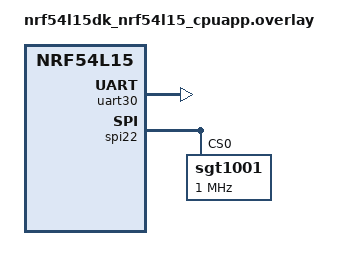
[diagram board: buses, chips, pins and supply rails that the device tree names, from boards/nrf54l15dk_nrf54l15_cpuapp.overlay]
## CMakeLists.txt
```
# =============================================================================
# poc_sdk_device_nrf — SandGrain device SDK on the nRF54L15-DK
#
# Runs the real device-side mutual-auth flow (SGR_SDK_Authenticate_Via_GW) on
# the board. The device<->gateway transport (normally a TCP socket in the PC
# build) is replaced by a Bluetooth LE Nordic UART Service link; a laptop
# relay bridges BLE <-> the gateway's TCP:8080. Gateway and cloud are unchanged.
#
# Builds in DEVICE_MODE, reusing the portable SDK sources from
# ../poc_sdk_device/sdk_fw and providing Zephyr port_* implementations.
# =============================================================================
cmake_minimum_required(VERSION 3.20.0)

find_package(Zephyr REQUIRED HINTS $ENV{ZEPHYR_BASE})
project(poc_sdk_device_nrf)

set(SDK    ${CMAKE_CURRENT_SOURCE_DIR}/../poc_sdk_device/sdk_fw)
# The PC device app, reused for the parts that are pure logic: the menu's
# fault-injection options flip bits in the same JSON frames on any transport.
set(DEVAPP ${CMAKE_CURRENT_SOURCE_DIR}/../poc_sdk_device/app)

target_sources(app PRIVATE
    # --- application ---
    src/main.c

    # --- Zephyr port layer (the platform-specific seam) ---
    src/ports/port_spi.c        # SGT1001 over Zephyr SPI
    src/ports/port_comm.c       # device<->gateway over BLE NUS (replaces TCP)
    src/ports/port_delay.c
    src/ports/port_random.c

    # --- shared with the PC device app ---
    ${DEVAPP}/fault_injection/fi_device.c   # menu options 2 and 3
    ${DEVAPP}/port/comm_adapter.c           # port_comm.c -> SDK comm interface

    # --- portable SDK firmware (reused as-is, DEVICE_MODE) ---
    ${SDK}/src/application/api.c
    ${SDK}/src/middleware/sgr_mw.c
    ${SDK}/src/services/server/server.c
    ${SDK}/src/services/protocol/protocol.c
    ${SDK}/src/services/crypto/crypto.c
    ${SDK}/src/utils/json/json_tx_build.c
    ${SDK}/src/utils/encoding/encoding_hex.c
    ${SDK}/src/utils/crc/crc.c
    ${SDK}/src/utils/bit_flip/bit_flip.c
    ${SDK}/src/utils/sha256/sha256.c
    ${SDK}/src/utils/random/random.c
)

target_include_directories(app PRIVATE
    src/ports                       # mosquitto.h stub + app_ble.h (searched first)
    ${DEVAPP}/fault_injection
    ${DEVAPP}/port                  # comm_adapter.h (the only header there)
    ${SDK}/include
    ${SDK}/src/application
    ${SDK}/src/middleware
    ${SDK}/src/services/server
    ${SDK}/src/services/crypto
    ${SDK}/src/services/protocol
    ${SDK}/src/services/devices
    ${SDK}/src/services/database
    ${SDK}/src/utils/crc
    ${SDK}/src/utils/encoding
    ${SDK}/src/utils/json
    ${SDK}/src/utils/bit_flip
    ${SDK}/src/utils/sha256
    ${SDK}/src/utils/random
    ${SDK}/port
)

# DEVICE_MODE=0. MAX_DEVICES=1 (one channel). CRC checks off (PoC parity).
target_compile_definitions(app PRIVATE
    SDK_MODE=0
    MAX_DEVICES=1
    CRC_ENABLE=0
)
```

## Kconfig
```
# Application-specific Kconfig for poc_sdk_device_nrf.
# (A Kconfig in the app root becomes the top-level source, so it must end by
#  sourcing Kconfig.zephyr to pull in the normal Zephyr configuration.)

config SANDGRAIN_INTERACTIVE_MENU
	bool "Interactive serial menu instead of the auto-auth loop"
	default y
	help
	  When y, the device presents a menu over the UART console (COM port) to
	  trigger BIST / mutual authentication on demand, like the PC test app.
	  Requires an interactive serial terminal that can send keystrokes
	  (PuTTY, screen, miniterm, VS Code Serial Monitor). The console input
	  subsystem it uses (CONSOLE_SUBSYS/GETCHAR) is enabled in prj.conf.

	  When n, the device runs the original behaviour: wait for the
	  relay/gateway link, then authenticate automatically every few seconds.

source "Kconfig.zephyr"
```

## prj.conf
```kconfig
# --- Console (BIST / TID / FSM logs print on the UART/COM port) ---
CONFIG_SERIAL=y
CONFIG_CONSOLE=y
CONFIG_UART_CONSOLE=y
CONFIG_GPIO=y

# The SDK sources use printf()/snprintf() heavily — route to the console.
CONFIG_PRINTK=y
CONFIG_PICOLIBC=y

# --- Interactive serial menu (y: menu on the COM port; n: auto-auth loop) ---
CONFIG_SANDGRAIN_INTERACTIVE_MENU=y
# Console input subsystem used by the menu (console_getchar). Harmless if the
# menu is disabled. CONSOLE_GETCHAR is a choice member, hence set here not via Kconfig.
CONFIG_CONSOLE_SUBSYS=y
CONFIG_CONSOLE_GETCHAR=y

# --- SPI to the SGT1001 crypto chip ---
CONFIG_SPI=y

# --- Bluetooth LE peripheral + Nordic UART Service (the device<->gateway link) ---
CONFIG_BT=y
CONFIG_BT_PERIPHERAL=y
CONFIG_BT_DEVICE_NAME="SandGrain-Dev"
CONFIG_BT_MAX_CONN=1
CONFIG_BT_NUS=y

# The SDK JSON frames (auth request / CW / RW / result) are up to ~130 bytes —
# raise the ATT MTU and ACL buffers so each frame fits in one NUS packet.
CONFIG_BT_L2CAP_TX_MTU=247
CONFIG_BT_BUF_ACL_TX_SIZE=251
CONFIG_BT_BUF_ACL_RX_SIZE=251

# The auth FSM keeps 512-byte TX/RX frame buffers on the main stack.
CONFIG_MAIN_STACK_SIZE=4096
```

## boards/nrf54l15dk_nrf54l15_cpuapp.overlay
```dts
#include <zephyr/dt-bindings/pinctrl/nrf-pinctrl.h>

/ {
	chosen {
		zephyr,console = &uart30;
		zephyr,shell-uart = &uart30;
		zephyr,uart-mcumgr = &uart30;
		zephyr,bt-mon-uart = &uart30;
		zephyr,bt-c2h-uart = &uart30;
	};
};

&uart20 {
	status = "disabled";
};

&uart30 {
	status = "okay";
};

&spi22 {
	status = "okay";

	sgt1001: sgt1001@0 {
		compatible = "zephyr,sgt1001";
		reg = <0>;
		spi-max-frequency = <1000000>;
		spi-cs-setup-delay-ns = <1000>;
		spi-cs-hold-delay-ns = <1000>;
	};
};
```

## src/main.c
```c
/* =============================================================================
 * main.c - SandGrain device on the nRF54L15-DK
 *
 * Runs the real device-side SDK flow on the board, talking to the gateway over
 * BLE (NUS). Two front-ends, chosen by CONFIG_SANDGRAIN_INTERACTIVE_MENU:
 *
 *   MENU (default): an interactive menu on the UART console (COM port) to run
 *     BIST / mutual authentication on demand - like the PC test app. Needs an
 *     interactive serial terminal that can send keystrokes.
 *
 *   AUTO (config n): wait for the relay/gateway link, then authenticate
 *     automatically every few seconds.
 *
 * Either way auth runs over the same BLE transport (relay -> gateway -> cloud).
 *
 * On top of both, TrustBridge can trigger an authentication itself: the gateway
 * subscribes to this board's cmd/run_auth topic (it has no MQTT client of its
 * own) and relays the trigger over BLE, where it is handled exactly like the
 * menu's "1" - see the trigger section below.
 * ============================================================================= */
#include <zephyr/kernel.h>
#include <zephyr/sys/printk.h>

#include <string.h>

#include "sdk_sgr_user_api.h"
#include "sgr_mw.h"          /* g_sgr_last_claim_token_id */
#include "crypto.h"          /* g_sgr_chip_variant, SGR_CHIP_SGB */
#include "sha256.h"          /* FW verification hashes the test image */
#include "fi_device.h"       /* fault-injection flags for menu options 2 / 3 */
#include "comm_adapter.h"    /* wraps port_comm.c as the SDK's comm interface */
#include "app_ble.h"

#if defined(CONFIG_SANDGRAIN_INTERACTIVE_MENU)
#include <zephyr/console/console.h>
#else
#define REAUTH_PERIOD_S  10
#endif

/* Simulated firmware image for the FW-verification options, byte-identical to
 * the PC device app's so both report the same hash. In a real system this would
 * be read from the secondary flash partition. */
static const uint8_t test_fw_data[] = {
	0x7F, 0x45, 0x4C, 0x46, 0x01, 0x01, 0x01, 0x00,  /* ELF-like header */
	0xDE, 0xAD, 0xBE, 0xEF, 0xCA, 0xFE, 0xBA, 0xBE,
	0x11, 0x22, 0x33, 0x44, 0x55, 0x66, 0x77, 0x88,
	0x99, 0xAA, 0xBB, 0xCC, 0xDD, 0xEE, 0xFF, 0x00,
	0x01, 0x23, 0x45, 0x67, 0x89, 0xAB, 0xCD, 0xEF,
	0xFE, 0xDC, 0xBA, 0x98, 0x76, 0x54, 0x32, 0x10,
	0xA5, 0x5A, 0xA5, 0x5A, 0xA5, 0x5A, 0xA5, 0x5A,
	0x00, 0x11, 0x22, 0x33, 0x44, 0x55, 0x66, 0x77
};
static const uint32_t test_fw_size = sizeof(test_fw_data);

/* Progress events from the auth FSM, same [EVT] trail the PC/Pi app prints.
 * Invoked synchronously from inside the flow - observe only, never call back
 * into SGR_SDK_* from here. */
static const char *auth_event_name(sgr_sdk_event_t e)
{
	switch (e) {
	case SGR_SDK_EVT_AUTH_STARTED:      return "AUTH_STARTED";
	case SGR_SDK_EVT_AUTH_REQUEST_SENT: return "AUTH_REQUEST_SENT";
	case SGR_SDK_EVT_CW_RECEIVED:       return "CW_RECEIVED";
	case SGR_SDK_EVT_RW_COMPUTED:       return "RW_COMPUTED";
	case SGR_SDK_EVT_RW_SENT:           return "RW_SENT";
	case SGR_SDK_EVT_RESULT_RECEIVED:   return "RESULT_RECEIVED";
	case SGR_SDK_EVT_AUTH_COMPLETE:     return "AUTH_COMPLETE";
	case SGR_SDK_EVT_AUTH_FAILED:       return "AUTH_FAILED";
	case SGR_SDK_EVT_RETRY:             return "RETRY";
	default:                            return "UNKNOWN";
	}
}

static void on_auth_event(sgr_sdk_event_t e, void *user)
{
	ARG_UNUSED(user);
	printk("        [EVT] %s\n", auth_event_name(e));
}

static void print_hex(const char *label, const uint8_t *buf, int len)
{
	printk("%s", label);
	for (int i = 0; i < len; i++) {
		printk("%02x", buf[i]);
	}
	printk("\n");
}

/* Menu option 0. Prints the same fields the PC app's BIST does, and hands the
 * TID to the BLE layer: it announces "HELLO <tid>" to the gateway on every
 * link-up, which is what puts this board online in TrustBridge. */
static void run_bist(void)
{
	sgr_sdk_bist_result_t bist = {0};
	sgr_sdk_status_t st = SGR_SDK_BIST(&bist);

	if (st != SGR_SDK_OK && st != SGR_SDK_AUTH_FAILED) {
		printk("[BIST] error (status=%d) - crypto chip transport?\n", st);
		return;
	}

	print_hex("[BIST] PCC    : ", bist.pcc, 16);
	print_hex("[BIST] ID     : ", bist.id,  16);
	print_hex("[BIST] RW     : ", bist.rw,  16);
	print_hex("[BIST] EK     : ", bist.ek,  16);
	printk("[BIST] Status : 0x%02x  (0x50 == PASS)\n", bist.bist_byte);
	printk("  >> BIST %s\n", bist.passed ? "PASS" : "FAIL");

	char tid_hex[65];
	for (int i = 0; i < 16; i++) {
		snprintk(&tid_hex[i * 2], 3, "%02x", bist.pcc[i]);
	}
	for (int i = 0; i < 16; i++) {
		snprintk(&tid_hex[32 + i * 2], 3, "%02x", bist.id[i]);
	}
	printk("TID: %s\n", tid_hex);

	app_ble_set_tid(tid_hex);
}

static void print_auth_result(sgr_sdk_status_t st)
{
	switch (st) {
	case SGR_SDK_OK:
		printk("  >> Mutual Authentication OK (token + host auth)\n");
		break;
	case SGR_SDK_AUTH_FAILED:
		printk("  >> Authentication FAILED (token auth - cloud rejected device)\n");
		break;
	case SGR_SDK_MUTUAL_AUTH_FAILED:
		printk("  >> Mutual Authentication FAILED (host auth - HRW mismatch)\n");
		break;
	case SGR_SDK_CLAIM_TOKEN_READY:
		printk("  >> Token ready to be claimed (not yet bound to a tenant)\n");
		break;
	case SGR_SDK_COMM_ERROR:
		printk("  >> Communication error (relay/gateway link)\n");
		break;
	case SGR_SDK_TOKEN_ERROR:
		printk("  >> Crypto chip error\n");
		break;
	default:
		printk("  >> Error (status=%d)\n", st);
		break;
	}
}

/* First-time enrollment: an unclaimed chip authenticates fine but the cloud
 * answers CLAIM_TOKEN instead of AUTH_OK. TrustBridge then claims that token,
 * and a second pass a moment later yields AUTH_OK. These bound the delayed
 * re-auth the triggered path drives so a TrustBridge-started flow finishes
 * enrollment on its own instead of ending "Rejected". */
#define CLAIM_REAUTH_PASSES   4
#define CLAIM_REAUTH_DELAY_S  3

K_MUTEX_DEFINE(sdk_lock);

/* Modes 1-3 are the PC app's authentication options, and they mean the same
 * thing here: the flags below are read by the transport (port_comm.c), which
 * flips bits in the JSON frames on their way past. Mode 1 clears them all. */
static const char *fi_select_mode(int mode)
{
	fi_enable_cw      = 0;
	fi_enable_cw_echo = 0;
	fi_enable_rw      = 0;
	fi_enable_option3 = 0;
	fi_skip_phase2    = 0;

	switch (mode) {
	case 2:
		fi_enable_cw      = 1;
		fi_enable_cw_echo = 1;
		fi_enable_rw      = 1;
		fi_skip_phase2    = 1;
		return "Fault injection (CW 2 bits, CW echo 1 bit, RW 1 bit)";
	case 3:
		fi_enable_option3 = 1;
		fi_skip_phase2    = 1;
		return "Error Management stress (CW 3 bits, CW echo 2 bits)";
	default:
		return "Mutual Authentication (no fault injection)";
	}
}

/* One shared BLE session serves every auth path, and SGR_SDK_Authenticate_Via_GW
 * is not reentrant - the menu and the TrustBridge trigger must take turns.
 * Returns false if an authentication was already in flight (the caller reports
 * it; nothing is queued, TrustBridge simply triggers again).
 *
 * `claim_retry` drives the delayed re-auth passes above. The triggered path
 * wants them (nobody is watching the console to press "1" again); the menu path
 * stays a single deliberate pass, matching the PC device build. */
static bool run_auth_guarded(int mode, bool claim_retry)
{
	if (k_mutex_lock(&sdk_lock, K_NO_WAIT) != 0) {
		printk("  [!] The SDK is busy with another operation - request ignored\n");
		return false;
	}

	const char *name = fi_select_mode(mode);
	printk("\n[AUTH] Mode %d: %s\n", mode, name);
	printk("[AUTH] Authenticating via gateway...\n");
	sgr_sdk_status_t st = SGR_SDK_Authenticate_Via_GW();

	if (claim_retry) {
		for (int pass = 1;
		     st == SGR_SDK_CLAIM_TOKEN_READY && pass <= CLAIM_REAUTH_PASSES;
		     pass++) {
			printk("  Token ready to be claimed: %s\n", g_sgr_last_claim_token_id);
			printk("  Waiting %ds for claim to settle, re-authenticating (pass %d/%d)...\n",
			       CLAIM_REAUTH_DELAY_S, pass, CLAIM_REAUTH_PASSES);
			k_sleep(K_SECONDS(CLAIM_REAUTH_DELAY_S));
			st = SGR_SDK_Authenticate_Via_GW();
		}
	}

	/* Leave the flags clear so the next run is clean unless it asks otherwise. */
	fi_select_mode(1);

	print_auth_result(st);
	k_mutex_unlock(&sdk_lock);
	return true;
}

/* Menu options 4 and 5. Option 4 also saves RW_verify inside the SDK, which is
 * what option 6 (Installation) needs - run 4 before 6.
 *
 *   use_valid_rw = 1: pre-compute the correct RW (SHA-256 of the image, then
 *     the crypto chip) and hand it over - a legitimately signed image, expect
 *     FW_OK.
 *   use_valid_rw = 0: hand over an all-zero RW - a tampered image, expect
 *     FW_NOK. */
static void run_fw_verification(bool use_valid_rw)
{
	uint8_t fw_hash[32]      = {0};
	uint8_t fw_rw_valid[16]  = {0};
	uint8_t fw_rw_wrong[16]  = {0};   /* all zeros - intentionally wrong */

	if (k_mutex_lock(&sdk_lock, K_NO_WAIT) != 0) {
		printk("  [!] The SDK is busy with another operation - request ignored\n");
		return;
	}

	printk("\n[FW] Simulated FW size: %u bytes\n", (unsigned)test_fw_size);
	sha256_compute(test_fw_data, test_fw_size, fw_hash);
	print_hex("[FW] SHA-256    : ", fw_hash, 32);

	if (crypto_get_rw(fw_hash, sizeof(fw_hash),
			  fw_rw_valid, sizeof(fw_rw_valid),
			  NULL, 0,
			  SGR_CRYPTO_MODE_HOST_AUTH) != SGR_CRYPTO_OK) {
		printk("  >> crypto_get_rw failed - is the SGT1001 connected?\n");
		k_mutex_unlock(&sdk_lock);
		return;
	}
	print_hex("[FW] Expected RW: ", fw_rw_valid, 16);
	printk("[FW] Using %s RW\n",
	       use_valid_rw ? "CORRECT (valid image)" : "WRONG (tampered image)");

	sgr_sdk_status_t st = SGR_SDK_Verification_FW(test_fw_data, test_fw_size,
						      use_valid_rw ? fw_rw_valid : fw_rw_wrong);

	if (st == SGR_SDK_OK) {
		printk("  >> FW Verification OK - FW_OK sent to the gateway\n");
	} else if (st == SGR_SDK_AUTH_FAILED) {
		printk("  >> FW Verification NOK - FW_NOK sent to the gateway\n");
	} else if (st == SGR_SDK_COMM_ERROR) {
		printk("  >> FW Verification ERROR - gateway link failed (status=%d)\n", st);
	} else if (st == SGR_SDK_TOKEN_ERROR) {
		printk("  >> FW Verification ERROR - crypto chip failed (status=%d)\n", st);
	} else {
		printk("  >> FW Verification ERROR (status=%d)\n", st);
	}

	k_mutex_unlock(&sdk_lock);
}

/* Menu option 6. Requires option 4 to have run in this session: it is the
 * FW_OK path that saves RW_verify, from which CW_install is derived. */
static void run_installation(void)
{
	if (k_mutex_lock(&sdk_lock, K_NO_WAIT) != 0) {
		printk("  [!] The SDK is busy with another operation - request ignored\n");
		return;
	}

	printk("\n[INST] Requesting installation authorization...\n");
	sgr_sdk_status_t st = SGR_SDK_Installation();

	if (st == SGR_SDK_OK) {
		printk("  >> Installation AUTHORIZED\n");
	} else if (st == SGR_SDK_AUTH_FAILED) {
		printk("  >> Installation DENIED (did you run option 4 first?)\n");
	} else if (st == SGR_SDK_COMM_ERROR) {
		printk("  >> Installation ERROR - gateway link failed (status=%d)\n", st);
	} else if (st == SGR_SDK_TOKEN_ERROR) {
		printk("  >> Installation ERROR - crypto chip failed (status=%d)\n", st);
	} else {
		printk("  >> Installation ERROR (status=%d)\n", st);
	}

	k_mutex_unlock(&sdk_lock);
}

#if defined(CONFIG_SANDGRAIN_INTERACTIVE_MENU)
/* Same option numbering as the PC device app, so a demo script reads the same
 * on either device. Only "7 Exit" is missing - a board has nothing to exit to. */
static void print_menu(void)
{
	printk("\n=====================================================\n");
	printk("  Select test option:\n");
	printk("  --- BIST ---\n");
	printk("   0  BIST - Built-In Self-Test (crypto chip) + TID\n");
	printk("  --- Authentication ---\n");
	printk("   1  Mutual Authentication (no fault injection)\n");
	printk("   2  Fault injection (CW: 2 bits, CW echo: 1 bit, RW: 1 bit)\n");
	printk("   3  Fault injection - Error Management stress (CW: 3 bits, CW echo: 2 bits)\n");
	printk("  --- FW Verification ---\n");
	printk("   4  FW Verification - correct RW  (expect FW_OK, saves RW_verify)\n");
	printk("   5  FW Verification - wrong RW    (expect FW_NOK)\n");
	printk("  --- Installation ---\n");
	printk("   6  Installation    - request install auth (run option 4 first)\n");
	printk("=====================================================\n");
	printk("  Option: ");
}

/* Everything except BIST talks to the gateway. */
static bool link_required(void)
{
	if (app_ble_ready()) {
		return true;
	}
	printk("  [!] Relay/gateway link not up yet - connect the relay "
	       "(or the BLE gateway) first.\n");
	return false;
}

static void menu_loop(void)
{
	console_init();
	print_menu();

	while (1) {
		uint8_t c = console_getchar();

		/* ignore line endings from terminals that send CR/LF */
		if (c == '\r' || c == '\n') {
			continue;
		}
		printk("%c\n", c);

		switch (c) {
		case '0':
			run_bist();
			break;
		case '1':
		case '2':
		case '3':
			if (link_required()) {
				run_auth_guarded(c - '0', false);
			}
			break;
		case '4':
		case '5':
			if (link_required()) {
				run_fw_verification(c == '4');
			}
			break;
		case '6':
			if (link_required()) {
				run_installation();
			}
			break;
		default:
			printk("  [!] Invalid option\n");
			break;
		}
		print_menu();
	}
}
#endif /* CONFIG_SANDGRAIN_INTERACTIVE_MENU */

/* =============================================================================
 * TrustBridge-driven authentication (BE -> gateway -> board)
 *
 * A native (IP) device subscribes to sandgrain/v1/{tid}/cmd/run_auth itself and
 * authenticates when the backend publishes there. This board has no IP stack, so
 * the gateway does it on our behalf and relays the trigger over the BLE link
 * (it learned which TID we are from the HELLO we send on every link-up). What
 * arrives here is a "RUN_AUTH <mode>" line, consumed by port_comm.c.
 *
 * The trigger lands on the Bluetooth RX thread, which must stay responsive -
 * the authentication it kicks off needs that very thread to deliver the
 * gateway's replies, so running it inline would deadlock the flow. Hence a
 * dedicated worker: the callback only signals, the worker authenticates.
 *
 * The worker stack mirrors CONFIG_MAIN_STACK_SIZE - it runs the same auth FSM,
 * whose 512-byte TX/RX frame buffers dominate the frame.
 * ============================================================================= */
#define AUTH_WORKER_STACK  4096
#define AUTH_WORKER_PRIO   5

static K_SEM_DEFINE(trigger_sem, 0, 1);
static atomic_t     trigger_mode = ATOMIC_INIT(1);

/* Runs on the Bluetooth RX thread: signal only, never authenticate here.
 * The mode carries the same 1/2/3 meaning as the menu, so TrustBridge can ask
 * for a fault-injection run exactly as it can from a PC device. */
static void on_ble_trigger(int mode)
{
	if (mode < 1 || mode > 3) {
		mode = 1;
	}
	atomic_set(&trigger_mode, mode);
	k_sem_give(&trigger_sem);
}

static void auth_worker(void *a, void *b, void *c)
{
	ARG_UNUSED(a);
	ARG_UNUSED(b);
	ARG_UNUSED(c);

	while (1) {
		k_sem_take(&trigger_sem, K_FOREVER);

		if (!app_ble_ready()) {
			/* The link that carried the trigger dropped in between. */
			printk("[TRIGGER] gateway link is down - skipping\n");
			continue;
		}

		run_auth_guarded((int)atomic_get(&trigger_mode), true);

#if defined(CONFIG_SANDGRAIN_INTERACTIVE_MENU)
		/* The main thread is parked in console_getchar with a half-printed
		 * prompt; put the menu back so the console does not look dead. */
		print_menu();
#endif
	}
}

K_THREAD_DEFINE(auth_worker_tid, AUTH_WORKER_STACK, auth_worker,
		NULL, NULL, NULL, AUTH_WORKER_PRIO, 0, 0);

int main(void)
{
	k_sleep(K_MSEC(300));
	printk("\n=====================================================\n");
	printk("  SandGrain DEVICE - mutual auth via GW over BLE\n");
	printk("  board: %s\n", CONFIG_BOARD_TARGET);
	printk("=====================================================\n");

	if (app_ble_init() != 0) {
		printk("[FATAL] BLE init failed\n");
		return 0;
	}

	/* Register the transport. The SDK no longer calls port_comm_* directly -
	 * the application supplies an sgr_sdk_comm_interface_t, and comm_adapter.c
	 * is the stock adapter that forwards to whatever port_comm.c is linked in
	 * (here: BLE NUS). Without this every SERVER_Open fails and the auth FSM
	 * reports "Failed to connect to GW". */
	{
		sgr_sdk_comm_interface_t comm;
		comm_adapter_get_interface(&comm);
		if (SGR_SDK_SetCommInterface(&comm) != SGR_SDK_OK) {
			printk("[FATAL] SGR_SDK_SetCommInterface failed\n");
			return 0;
		}
	}
	SGR_SDK_SetEventCallback(on_auth_event, NULL);

	printk("[INIT] Initializing device SDK (reads TID over SPI)...\n");
	if (SGR_SDK_Initialize() != SGR_SDK_OK) {
		printk("[FATAL] SGR_SDK_Initialize failed - is the SGT1001 connected?\n");
		return 0;
	}
	g_sgr_chip_variant = SGR_CHIP_SGB;
	printk("[INIT] SDK ready (chip variant: SGB)\n");

	/* Register BEFORE the TID goes out: the TID in our HELLO is what makes the
	 * gateway subscribe to cmd/run_auth, so a trigger can arrive right after. */
	app_ble_set_trigger_cb(on_ble_trigger);

	run_bist();

#if defined(CONFIG_SANDGRAIN_INTERACTIVE_MENU)
	printk("\n[MENU] Interactive menu enabled - open the COM port with a terminal\n");
	printk("       that can send keystrokes. Connect the relay/gateway before\n");
	printk("       choosing Mutual Authentication. TrustBridge can also trigger\n");
	printk("       an authentication itself, without any keystroke.\n");
	menu_loop();   /* never returns */
#else
	printk("[WAIT] Waiting for the relay (BLE central) to connect & subscribe...\n");
	while (!app_ble_ready()) {
		k_msleep(100);
	}

	while (1) {
		run_auth_guarded(1, false);

		/* If the link dropped mid-flow, wait for it to come back. */
		if (!app_ble_ready()) {
			printk("[WAIT] Link down - waiting to reconnect...\n");
			while (!app_ble_ready()) {
				k_msleep(100);
			}
		}
		k_sleep(K_SECONDS(REAUTH_PERIOD_S));
	}
#endif

	return 0;
}
```
